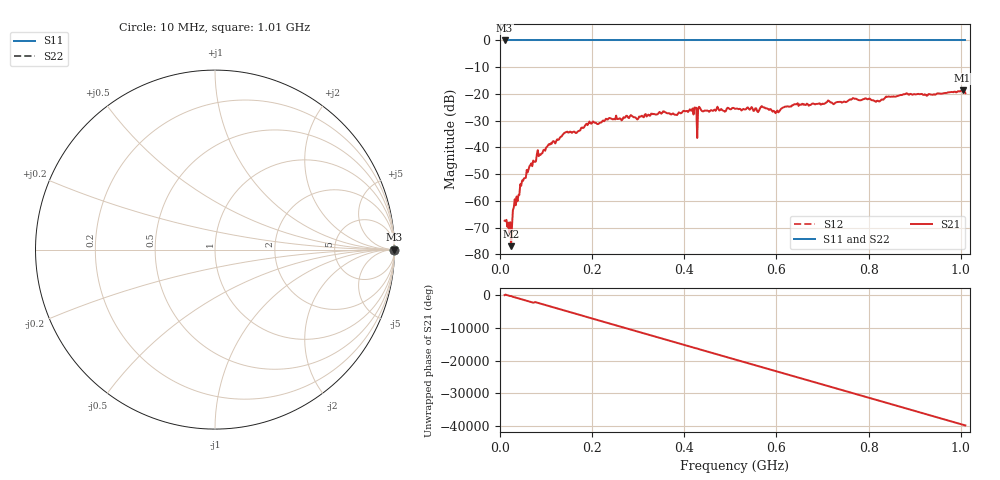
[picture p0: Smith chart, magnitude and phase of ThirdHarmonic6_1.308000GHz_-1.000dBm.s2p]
! 8/16/2025 2:27:01 PM
! C:\ANRITSUVNA\TEMP\TEMP.S2P
! CHANNEL.1
! TR.MEASUREMENT
! RAW.DATA
! RF.CORRECTION.OFF
! AVERAGING.OFF
! IF.BANDWIDTH: 5KHZ
! SWEEPTYPE:  FREQ.SWEEP(Linear)
! Reference Plane Port Info
! PORT:  PORT1  PORT2
! DISTANCE:  0  m  0  m
! TIME:  0  s  0  s
! PHASE.OFFSET:  0  deg.  0  deg.
! LOSS:  0  dB  0  dB
! REF.LOSS:  0  dB  0  dB
! REF.FREQ:  0  Hz  0  Hz
! Power Info
! POWER:  -20  dBm  -20  dBm
! EFF.POWER:  -20  dBm  -20  dBm
! SOURCE.ATTEN:  0  dB  0  dB
! TEST.ATTEN:  0  dB  0  dB
# GHZ S RI R 50.0
! FREQ.GHZ  S11RE  S11IM  S21RE  S21IM  S12RE  S12IM  S22RE  S22IM
!; PortSelection: Port_12
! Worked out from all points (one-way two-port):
!   501 points, 10 MHz to 1.01 GHz, reference 50 ohm
!   highest |S21| = -18.68 dB at 1.004 GHz (marker M1); lowest = -77.0 dB at 24 MHz (marker M2)
!   lowest |S11| = 0.0 dB at 10 MHz (marker M3)
!   |S11| at or under -10 dB: nowhere
!   |S22| runs from 0.0 to 0.0 dB; largest |S21 - S12| = 1.1
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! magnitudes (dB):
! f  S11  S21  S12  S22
! 10 MHz  0.0  -67.4  0.0  0.0
! 20 MHz  0.0  -72.1  0.0  0.0
! 24 MHz  0.0  -77.0  0.0  0.0
! 32 MHz  0.0  -59.4  0.0  0.0
! 48 MHz  0.0  -52.4  0.0  0.0
! 68 MHz  0.0  -46.0  0.0  0.0
! 140 MHz  0.0  -34.6  0.0  0.0
! 178 MHz  0.0  -32.6  0.0  0.0
! 234 MHz  0.0  -29.6  0.0  0.0
! 344 MHz  0.0  -27.2  0.0  0.0
! 422 MHz  0.0  -25.1  0.0  0.0
! 424 MHz  0.0  -25.1  0.0  0.0
! 432 MHz  0.0  -24.8  0.0  0.0
! 434 MHz  0.0  -25.2  0.0  0.0
! 510 MHz  0.0  -25.6  0.0  0.0
! 570 MHz  0.0  -24.9  0.0  0.0
! 602 MHz  0.0  -26.2  0.0  0.0
! 642 MHz  0.0  -23.9  0.0  0.0
! 678 MHz  0.0  -23.6  0.0  0.0
! 844 MHz  0.0  -21.0  0.0  0.0
! 1.004 GHz  0.0  -18.7  0.0  0.0
! 1.01 GHz  0.0  -19.7  0.0  0.0
